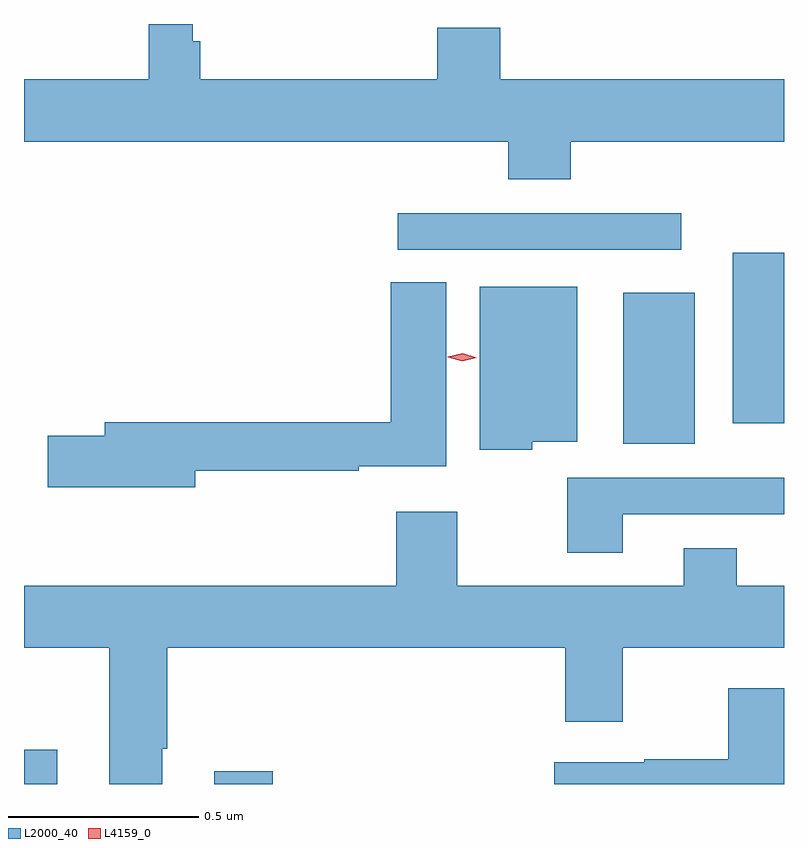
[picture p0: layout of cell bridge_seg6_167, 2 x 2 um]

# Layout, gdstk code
import gdstk
lib = gdstk.Library(unit=1e-6, precision=1e-09)
def R(c, l, rs):  # rectangles x0, y0, x1, y1
    for r in rs: c.add(gdstk.rectangle(r[:2], r[2:], *l))
def P(c, l, *ps):  # polygons
    for p in ps: c.add(gdstk.Polygon(p, *l))
L2000_40 = (2000, 40)
L4159_0 = (4159, 0)

bridge_seg6_167 = lib.new_cell('bridge_seg6_167')
R(bridge_seg6_167, L2000_40, [(615.267,953.638,615.355,953.728), (615.767,953.638,615.922,953.671), (616.844,954.533,617.032,954.931), (617.132,954.588,617.267,955.036), (616.251,955.044,616.996,955.14)])
P(bridge_seg6_167, L2000_40, [(616.706,955.328),(617.267,955.328),(617.267,955.492),(616.52,955.492),(616.52,955.628),(616.355,955.628),(616.355,955.492),(615.731,955.492),(615.731,955.593),(615.711,955.593),(615.711,955.638),(615.595,955.638),(615.595,955.492),(615.267,955.492),(615.267,955.328),(616.541,955.328),(616.541,955.229),(616.706,955.229)],
  [(615.718,954.462),(616.148,954.462),(616.148,954.474),(616.378,954.474),(616.378,954.959),(616.232,954.959),(616.232,954.59),(615.479,954.59),(615.479,954.554),(615.33,954.554),(615.33,954.419),(615.718,954.419)],
  [(616.605,954.539),(616.723,954.539),(616.723,954.946),(616.466,954.946),(616.466,954.518),(616.605,954.518)],
  [(616.843,954.348),(617.267,954.348),(617.267,954.444),(616.696,954.444),(616.696,954.246),(616.843,954.246)],
  [(615.631,953.731),(615.644,953.731),(615.644,953.996),(616.691,953.996),(616.691,953.802),(616.843,953.802),(616.843,953.996),(617.267,953.996),(617.267,954.16),(617.143,954.16),(617.143,954.259),(617.003,954.259),(617.003,954.16),(616.407,954.16),(616.407,954.355),(616.247,954.355),(616.247,954.16),(615.267,954.16),(615.267,953.996),(615.491,953.996),(615.491,953.638),(615.631,953.638)],
  [(617.267,953.89),(617.12,953.89),(617.12,953.703),(616.899,953.703),(616.899,953.695),(616.662,953.695),(616.662,953.638),(617.267,953.638)])
P(bridge_seg6_167, L4159_0, [(616.42,954.751),(616.382,954.761),(616.382,954.761),(616.382,954.762),(616.421,954.771),(616.459,954.76),(616.459,954.76),(616.459,954.76)])

lib.write_gds('bridge_seg6_167.gds')
